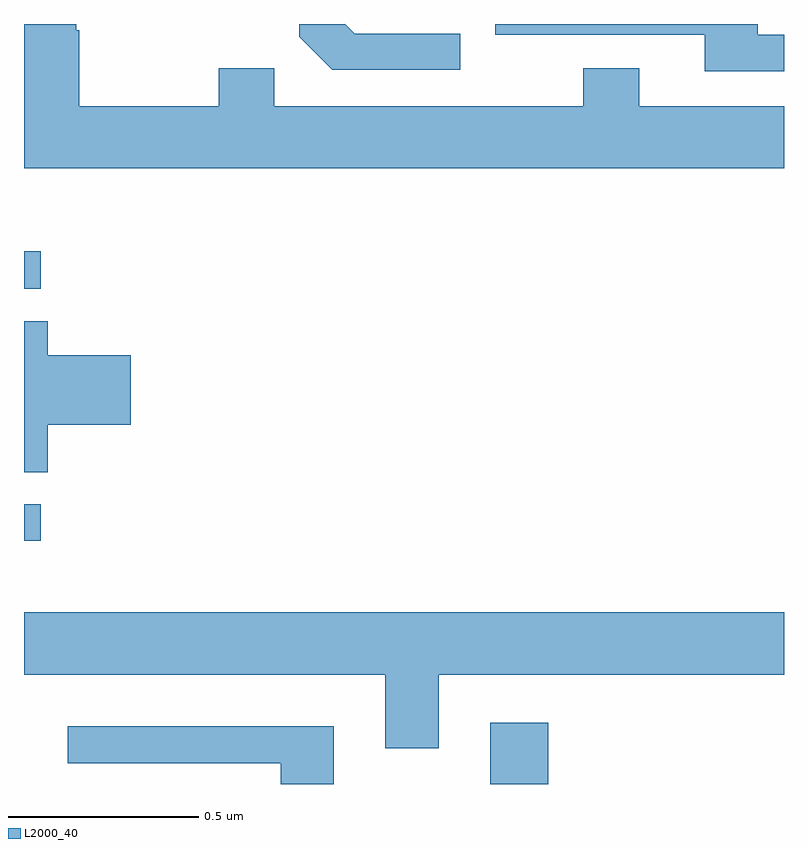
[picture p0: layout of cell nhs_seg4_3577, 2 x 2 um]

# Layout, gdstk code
import gdstk
lib = gdstk.Library(unit=1e-6, precision=1e-09)
def R(c, l, rs):  # rectangles x0, y0, x1, y1
    for r in rs: c.add(gdstk.rectangle(r[:2], r[2:], *l))
def P(c, l, *ps):  # polygons
    for p in ps: c.add(gdstk.Polygon(p, *l))
L2000_40 = (2000, 40)

nhs_seg4_3577 = lib.new_cell('nhs_seg4_3577')
R(nhs_seg4_3577, L2000_40, [(156.227,761.9,156.38,762.061), (155,762.54,155.044,762.636), (155,763.203,155.044,763.302)])
P(nhs_seg4_3577, L2000_40, [(157,763.684),(156.619,763.684),(156.619,763.783),(156.472,763.783),(156.472,763.684),(155.658,763.684),(155.658,763.783),(155.512,763.783),(155.512,763.684),(155.145,763.684),(155.145,763.883),(155.137,763.883),(155.137,763.9),(155,763.9),(155,763.52),(157,763.52)],
  [(157,763.872),(156.931,763.872),(156.931,763.9),(156.24,763.9),(156.24,763.872),(156.791,763.872),(156.791,763.776),(157,763.776)],
  [(156.148,763.875),(155.871,763.875),(155.846,763.9),(155.724,763.9),(155.724,763.866),(155.811,763.779),(156.148,763.779)],
  [(155.063,762.845),(155.281,762.845),(155.281,763.028),(155.063,763.028),(155.063,763.118),(155,763.118),(155,762.721),(155.063,762.721)],
  [(156.091,762.188),(157,762.188),(157,762.352),(155,762.352),(155,762.188),(155.951,762.188),(155.951,761.994),(156.091,761.994)],
  [(155.815,762.052),(155.115,762.052),(155.115,761.955),(155.675,761.955),(155.675,761.9),(155.815,761.9)])

lib.write_gds('nhs_seg4_3577.gds')
